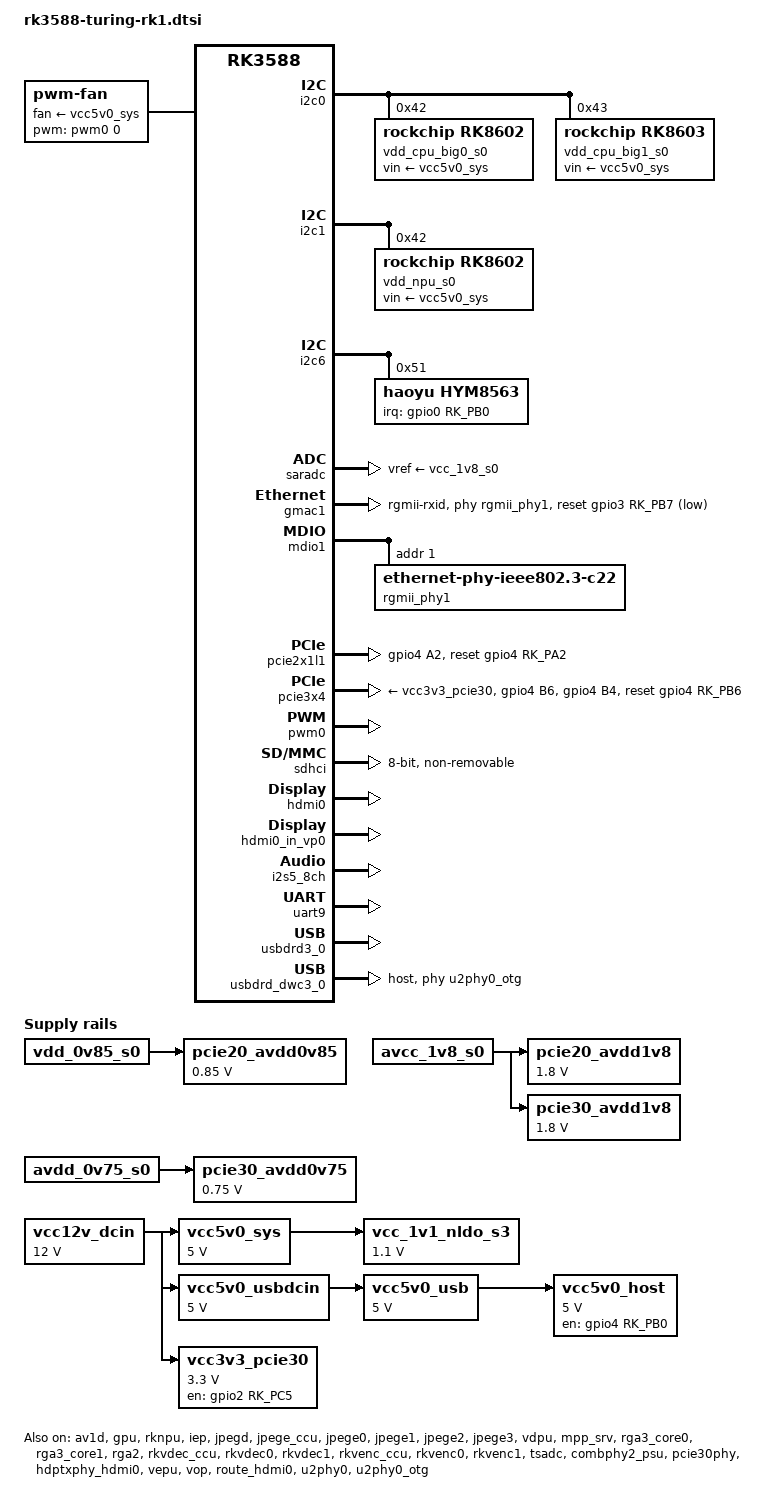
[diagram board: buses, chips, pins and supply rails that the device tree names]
// SPDX-License-Identifier: (GPL-2.0+ OR MIT)
/*
 * Copyright (c) 2023 Joshua Riek <jjriek@verizon.net>
 *
 */

/dts-v1/;

#include <dt-bindings/gpio/gpio.h>
#include <dt-bindings/pwm/pwm.h>
#include <dt-bindings/pinctrl/rockchip.h>
#include <dt-bindings/input/rk-input.h>
#include <dt-bindings/display/drm_mipi_dsi.h>
#include <dt-bindings/display/rockchip_vop.h>
#include <dt-bindings/sensor-dev.h>

#include "dt-bindings/usb/pd.h"
#include "rk3588.dtsi"
#include "rk3588-rk806-single.dtsi"
#include "rk3588-linux.dtsi"

/ {
	compatible = "turing,rk1", "rockchip,rk3588";

	/delete-node/ chosen;

	aliases {
		ethernet0 = &gmac1;
		mmc0 = &sdhci;
		serial2 = &uart2;
		serial9 = &uart9;
	};

	/* If hdmirx node is disabled, delete the reserved-memory node here. */
	reserved-memory {
		#address-cells = <2>;
		#size-cells = <2>;
		ranges;

		/* Reserve 256MB memory for hdmirx-controller@fdee0000 */
		cma {
			compatible = "shared-dma-pool";
			reusable;
			reg = <0x0 (256 * 0x100000) 0x0 (256 * 0x100000)>;
			linux,cma-default;
		};
	};

	fan: pwm-fan {
		compatible = "pwm-fan";
		cooling-levels = <100 160 190 200 215 235 255>;
		fan-supply = <&vcc5v0_sys>;
		pinctrl-names = "default";
		pinctrl-0 = <&pwm0m2_pins &fan_int>;
		pwms = <&pwm0 0 50000 0>;
		#cooling-cells = <2>;
		rockchip,temp-trips = <
			55000	1
			60000	2
			65000	3
			70000	4
			75000	5
			80000	6
		>;
	};

	hdmi0_sound: hdmi0-sound {
		status = "okay";
		compatible = "rockchip,hdmi";
		rockchip,mclk-fs = <128>;
		rockchip,card-name = "rockchip-hdmi0";
		rockchip,cpu = <&i2s5_8ch>;
		rockchip,codec = <&hdmi0>;
		rockchip,jack-det;
	};

	vcc12v_dcin: vcc12v-dcin {
		compatible = "regulator-fixed";
		regulator-name = "vcc12v_dcin";
		regulator-always-on;
		regulator-boot-on;
		regulator-min-microvolt = <12000000>;
		regulator-max-microvolt = <12000000>;
	};

	vcc5v0_sys: vcc5v0-sys {
		compatible = "regulator-fixed";
		regulator-name = "vcc5v0_sys";
		regulator-always-on;
		regulator-boot-on;
		regulator-min-microvolt = <5000000>;
		regulator-max-microvolt = <5000000>;
		vin-supply = <&vcc12v_dcin>;
	};

	vcc5v0_usbdcin: vcc5v0-usbdcin {
		compatible = "regulator-fixed";
		regulator-name = "vcc5v0_usbdcin";
		regulator-always-on;
		regulator-boot-on;
		regulator-min-microvolt = <5000000>;
		regulator-max-microvolt = <5000000>;
		vin-supply = <&vcc12v_dcin>;
	};

	vcc5v0_usb: vcc5v0-usb {
		compatible = "regulator-fixed";
		regulator-name = "vcc5v0_usb";
		regulator-always-on;
		regulator-boot-on;
		regulator-min-microvolt = <5000000>;
		regulator-max-microvolt = <5000000>;
		vin-supply = <&vcc5v0_usbdcin>;
	};

	pcie20_avdd0v85: pcie20-avdd0v85 {
		compatible = "regulator-fixed";
		regulator-name = "pcie20_avdd0v85";
		regulator-boot-on;
		regulator-always-on;
		regulator-min-microvolt = <850000>;
		regulator-max-microvolt = <850000>;
		vin-supply = <&vdd_0v85_s0>;
	};

	pcie20_avdd1v8: pcie20-avdd1v8 {
		compatible = "regulator-fixed";
		regulator-name = "pcie20_avdd1v8";
		regulator-boot-on;
		regulator-always-on;
		regulator-min-microvolt = <1800000>;
		regulator-max-microvolt = <1800000>;
		vin-supply = <&avcc_1v8_s0>;
	};

	pcie30_avdd0v75: pcie30-avdd0v75 {
		compatible = "regulator-fixed";
		regulator-name = "pcie30_avdd0v75";
		regulator-boot-on;
		regulator-always-on;
		regulator-min-microvolt = <750000>;
		regulator-max-microvolt = <750000>;
		vin-supply = <&avdd_0v75_s0>;
	};

	pcie30_avdd1v8: pcie30-avdd1v8 {
		compatible = "regulator-fixed";
		regulator-name = "pcie30_avdd1v8";
		regulator-boot-on;
		regulator-always-on;
		regulator-min-microvolt = <1800000>;
		regulator-max-microvolt = <1800000>;
		vin-supply = <&avcc_1v8_s0>;
	};

	vcc_1v1_nldo_s3: vcc-1v1-nldo-s3 {
		compatible = "regulator-fixed";
		regulator-name = "vcc_1v1_nldo_s3";
		regulator-always-on;
		regulator-boot-on;
		regulator-min-microvolt = <1100000>;
		regulator-max-microvolt = <1100000>;
		vin-supply = <&vcc5v0_sys>;
	};

	vcc3v3_pcie30: vcc3v3-pcie30 {
		compatible = "regulator-fixed";
		regulator-name = "vcc3v3_pcie30";
		regulator-min-microvolt = <3300000>;
		regulator-max-microvolt = <3300000>;
		enable-active-high;
		gpios = <&gpio2 RK_PC5 GPIO_ACTIVE_HIGH>;
		pinctrl-names = "default";
		pinctrl-0 = <&vcc3v3_pcie30_en>;
		startup-delay-us = <5000>;
		vin-supply = <&vcc12v_dcin>;
	};

	vcc5v0_host: vcc5v0-host {
		compatible = "regulator-fixed";
		regulator-name = "vcc5v0_host";
		regulator-boot-on;
		regulator-always-on;
		regulator-min-microvolt = <5000000>;
		regulator-max-microvolt = <5000000>;
		enable-active-high;
		gpio = <&gpio4 RK_PB0 GPIO_ACTIVE_HIGH>;
		vin-supply = <&vcc5v0_usb>;
		pinctrl-names = "default";
		pinctrl-0 = <&vcc5v0_host_en>;
	};
};

&av1d {
	status = "okay";
};

&av1d_mmu {
	status = "okay";
};

&cpu_l0 {
	cpu-supply = <&vdd_cpu_lit_s0>;
	mem-supply = <&vdd_cpu_lit_mem_s0>;
};

&cpu_b0 {
	cpu-supply = <&vdd_cpu_big0_s0>;
	mem-supply = <&vdd_cpu_big0_mem_s0>;
};

&cpu_b2 {
	cpu-supply = <&vdd_cpu_big1_s0>;
	mem-supply = <&vdd_cpu_big1_mem_s0>;
};

&gpu {
	mali-supply = <&vdd_gpu_s0>;
	mem-supply = <&vdd_gpu_mem_s0>;
	status = "okay";
};

&rknpu {
	rknpu-supply = <&vdd_npu_s0>;
	mem-supply = <&vdd_npu_mem_s0>;
	status = "okay";
};

&rknpu_mmu {
	status = "okay";
};

&i2c0 {
	status = "okay";
	pinctrl-names = "default";
	pinctrl-0 = <&i2c0m2_xfer>;

	vdd_cpu_big0_s0: vdd_cpu_big0_mem_s0: rk8602@42 {
		compatible = "rockchip,rk8602";
		reg = <0x42>;
		vin-supply = <&vcc5v0_sys>;
		regulator-compatible = "rk860x-reg";
		regulator-name = "vdd_cpu_big0_s0";
		regulator-min-microvolt = <550000>;
		regulator-max-microvolt = <1050000>;
		regulator-ramp-delay = <2300>;
		rockchip,suspend-voltage-selector = <1>;
		regulator-boot-on;
		regulator-always-on;

		regulator-state-mem {
			regulator-off-in-suspend;
		};
	};

	vdd_cpu_big1_s0: vdd_cpu_big1_mem_s0: rk8603@43 {
		compatible = "rockchip,rk8603";
		reg = <0x43>;
		vin-supply = <&vcc5v0_sys>;
		regulator-compatible = "rk860x-reg";
		regulator-name = "vdd_cpu_big1_s0";
		regulator-min-microvolt = <550000>;
		regulator-max-microvolt = <1050000>;
		regulator-ramp-delay = <2300>;
		rockchip,suspend-voltage-selector = <1>;
		regulator-boot-on;
		regulator-always-on;

		regulator-state-mem {
			regulator-off-in-suspend;
		};
	};
};

&i2c1 {
	pinctrl-names = "default";
	pinctrl-0 = <&i2c1m2_xfer>;
	status = "okay";

	vdd_npu_s0: vdd_npu_mem_s0: rk8602@42 {
		compatible = "rockchip,rk8602";
		reg = <0x42>;
		vin-supply = <&vcc5v0_sys>;
		regulator-compatible = "rk860x-reg";
		regulator-name = "vdd_npu_s0";
		regulator-min-microvolt = <550000>;
		regulator-max-microvolt = <950000>;
		regulator-ramp-delay = <2300>;
		rockchip,suspend-voltage-selector = <1>;
		regulator-boot-on;
		regulator-always-on;

		regulator-state-mem {
			regulator-off-in-suspend;
		};
	};
};

&i2c6 {
	status = "okay";

	hym8563: rtc@51 {
		compatible = "haoyu,hym8563";
		reg = <0x51>;
		#clock-cells = <0>;
		clock-output-names = "hym8563";
		pinctrl-names = "default";
		pinctrl-0 = <&hym8563_int>;
		interrupt-parent = <&gpio0>;
		interrupts = <RK_PB0 IRQ_TYPE_LEVEL_LOW>;
		wakeup-source;
	};
};

&iep {
	status = "okay";
};

&iep_mmu {
	status = "okay";
};

&jpegd {
	status = "okay";
};

&jpegd_mmu {
	status = "okay";
};

&jpege_ccu {
	status = "okay";
};

&jpege0 {
	status = "okay";
};

&jpege0_mmu {
	status = "okay";
};

&jpege1 {
	status = "okay";
};

&jpege1_mmu {
	status = "okay";
};

&jpege2 {
	status = "okay";
};

&jpege2_mmu {
	status = "okay";
};

&jpege3 {
	status = "okay";
};

&jpege3_mmu {
	status = "okay";
};

&vdpu {
	status = "okay";
};

&vdpu_mmu {
	status = "okay";
};

&mpp_srv {
	status = "okay";
};

&rga3_core0 {
	status = "okay";
};

&rga3_0_mmu {
	status = "okay";
};

&rga3_core1 {
	status = "okay";
};

&rga3_1_mmu {
	status = "okay";
};

&rga2 {
	status = "okay";
};

&rkvdec_ccu {
	status = "okay";
};

&rkvdec0 {
	status = "okay";
};

&rkvdec0_mmu {
	status = "okay";
};

&rkvdec1 {
	status = "okay";
};

&rkvdec1_mmu {
	status = "okay";
};

&rkvenc_ccu {
	status = "okay";
};

&rkvenc0 {
	status = "okay";
};

&rkvenc0_mmu {
	status = "okay";
};

&rkvenc1 {
	status = "okay";
};

&rkvenc1_mmu {
	status = "okay";
};

&saradc {
	status = "okay";
	vref-supply = <&vcc_1v8_s0>;
};

&tsadc {
	status = "okay";
};

&gmac1 {
	status = "okay";
	phy-mode = "rgmii-rxid";
	clock_in_out = "output";

	snps,reset-gpio = <&gpio3 RK_PB7 GPIO_ACTIVE_LOW>;
	snps,reset-active-low;
	/* Reset time is 20ms, 100ms for rtl8211f */
	snps,reset-delays-us = <0 20000 100000>;

	pinctrl-names = "default";
	pinctrl-0 = <&gmac1_miim
		     &gmac1_tx_bus2
		     &gmac1_rx_bus2
		     &gmac1_rgmii_clk
		     &gmac1_rgmii_bus>;

	rx_delay = <0x00>;
	tx_delay = <0x43>;

	phy-handle = <&rgmii_phy1>;
};

&mdio1 {
	rgmii_phy1: phy@1 {
		compatible = "ethernet-phy-ieee802.3-c22";
		reg = <0x1>;
	};
};

&combphy2_psu {
	status = "okay";
};

&pcie2x1l1 {
	linux,pci-domain = <1>;
	pinctrl-names = "default";
	pinctrl-0 = <&pcie2_reset>;
	reset-gpios = <&gpio4 RK_PA2 GPIO_ACTIVE_HIGH>;
	status = "okay";
};

&pcie30phy {
	status = "okay";
};

&pcie3x4 {
	linux,pci-domain = <0>;
	pinctrl-names = "default";
	pinctrl-0 = <&pcie3_reset>, <&pcie3_clkreqn_m1>;
	reset-gpios = <&gpio4 RK_PB6 GPIO_ACTIVE_HIGH>;
	vpcie3v3-supply = <&vcc3v3_pcie30>;
	status = "okay";
};

&pinctrl {
	hym8563 {
		hym8563_int: hym8563-int {
			rockchip,pins = <0 RK_PB0 RK_FUNC_GPIO &pcfg_pull_none>;
		};
	};

	fan {
		fan_int: fan-int {
			rockchip,pins = <0 RK_PA4 RK_FUNC_GPIO &pcfg_pull_none>;
		};
	};

	usb {
		vcc5v0_host_en: vcc5v0-host-en {
			rockchip,pins = <4 RK_PB0 RK_FUNC_GPIO &pcfg_pull_none>;
		};
	};

	pcie2 {
		pcie2_reset: pcie2-reset {
			rockchip,pins = <4 RK_PA2 RK_FUNC_GPIO &pcfg_pull_none>;
		};
	};

	pcie3 {
		pcie3_reset: pcie3-reset {
			rockchip,pins = <4 RK_PB6 RK_FUNC_GPIO &pcfg_pull_none>;
		};

		pcie3_clkreqn_m1: pcie3-clkreqn-m1 {
			rockchip,pins = <4 RK_PB4 RK_FUNC_GPIO &pcfg_pull_down>;
		};

		vcc3v3_pcie30_en: pcie3-reg {
			rockchip,pins = <2 RK_PC5 RK_FUNC_GPIO &pcfg_pull_none>;
		};
	};
};

&pwm0 {
	status = "okay";
};

&sdhci {
	bus-width = <8>;
	no-sdio;
	no-sd;
	non-removable;
	max-frequency = <200000000>;
	mmc-hs400-1_8v;
	mmc-hs400-enhanced-strobe;
	full-pwr-cycle-in-suspend;
	status = "okay";
};

&hdmi0 {
	status = "okay";
};

&hdmi0_in_vp0 {
	status = "okay";
};

&hdmi0_in_vp1 {
	status = "disabled";
};

&hdmi0_in_vp2 {
	status = "disabled";
};

&hdptxphy_hdmi0 {
	status = "okay";
};

&i2s5_8ch {
	status = "okay";
};

&vop_mmu {
	status = "okay";
};

&vepu {
	status = "okay";
};

&vop {
	status = "okay";
	assigned-clocks = <&cru ACLK_VOP>;
	assigned-clock-rates = <800000000>;
};

&route_hdmi0 {
	status = "okay";
	connect = <&vp0_out_hdmi0>;
	/delete-property/ force-output;
	/delete-node/ force_timing;
};

&vp0 {
	rockchip,plane-mask = <(1 << ROCKCHIP_VOP2_CLUSTER0 | 1 << ROCKCHIP_VOP2_ESMART0)>;
	rockchip,primary-plane = <ROCKCHIP_VOP2_CLUSTER0>;
	cursor-win-id = <ROCKCHIP_VOP2_ESMART0>;
};

&vp1 {
	rockchip,plane-mask = <(1 << ROCKCHIP_VOP2_CLUSTER1 | 1 << ROCKCHIP_VOP2_ESMART1)>;
	rockchip,primary-plane = <ROCKCHIP_VOP2_CLUSTER1>;
	cursor-win-id = <ROCKCHIP_VOP2_ESMART1>;
};

&vp2 {
	rockchip,plane-mask = <(1 << ROCKCHIP_VOP2_CLUSTER2 | 1 << ROCKCHIP_VOP2_ESMART2)>;
	rockchip,primary-plane = <ROCKCHIP_VOP2_CLUSTER2>;
	cursor-win-id = <ROCKCHIP_VOP2_ESMART2>;
};

&vp3 {
	rockchip,plane-mask = <(1 << ROCKCHIP_VOP2_CLUSTER3 | 1 << ROCKCHIP_VOP2_ESMART3)>;
	rockchip,primary-plane = <ROCKCHIP_VOP2_CLUSTER3>;
	cursor-win-id = <ROCKCHIP_VOP2_ESMART3>;
};

&display_subsystem {
	clocks = <&hdptxphy_hdmi_clk0>;
	clock-names = "hdmi0_phy_pll";
};

&hdptxphy_hdmi_clk0 {
	status = "okay";
};

&uart9 {
	pinctrl-0 = <&uart9m0_xfer>;
	status = "okay";
};

&u2phy0 {
	status = "okay";
};

&u2phy0_otg {
	rockchip,sel-pipe-phystatus;
	status = "okay";
};

&usbdp_phy0 {
	status = "disabled";
};

&usbdp_phy0_dp {
	status = "disabled";
};

&usbdp_phy0_u3 {
	status = "disabled";
};

&usbdrd3_0 {
	status = "okay";
};

&usbdrd_dwc3_0 {
	dr_mode = "host";
	phys = <&u2phy0_otg>;
	phy-names = "usb2-phy";
	maximum-speed = "high-speed";
	extcon = <&u2phy0>;
	status = "okay";
};
